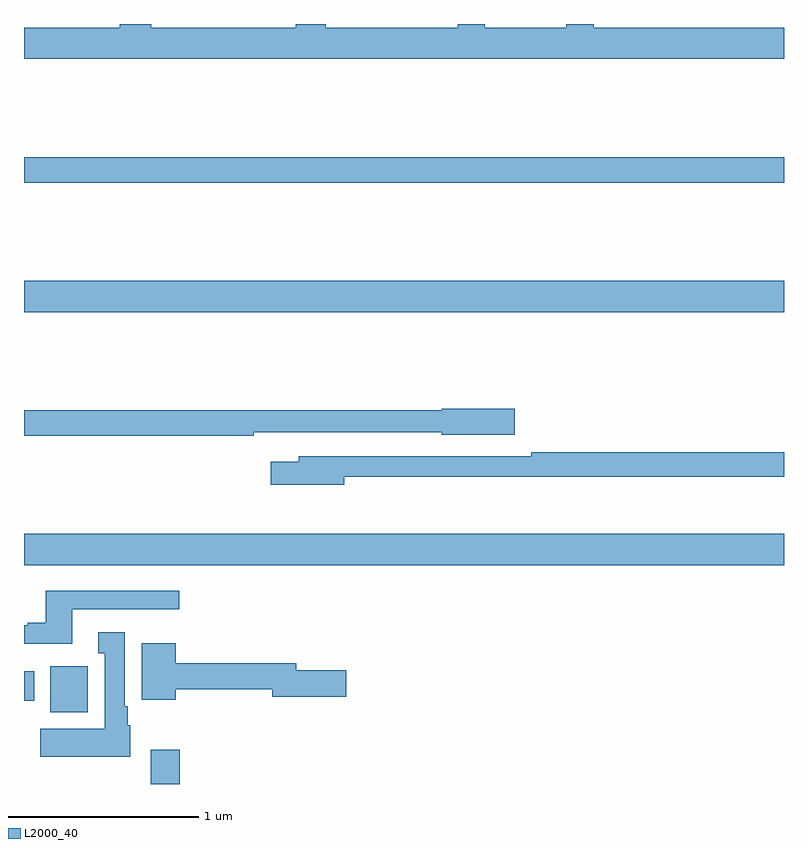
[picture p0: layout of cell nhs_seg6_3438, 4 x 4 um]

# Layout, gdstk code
import gdstk
lib = gdstk.Library(unit=1e-6, precision=1e-09)
def R(c, l, rs):  # rectangles x0, y0, x1, y1
    for r in rs: c.add(gdstk.rectangle(r[:2], r[2:], *l))
def P(c, l, *ps):  # polygons
    for p in ps: c.add(gdstk.Polygon(p, *l))
L2000_40 = (2000, 40)

nhs_seg6_3438 = lib.new_cell('nhs_seg6_3438')
R(nhs_seg6_3438, L2000_40, [(313.667,963.5,313.82,963.679), (313.139,963.878,313.336,964.12), (313,963.937,313.054,964.093), (313,964.652,317,964.816), (313,965.984,317,966.148), (313,966.664,317,966.8)])
P(nhs_seg6_3438, L2000_40, [(317,967.48),(315.998,967.48),(315.998,967.5),(315.854,967.5),(315.854,967.48),(315.424,967.48),(315.424,967.5),(315.284,967.5),(315.284,967.48),(314.589,967.48),(314.589,967.5),(314.429,967.5),(314.429,967.48),(313.67,967.48),(313.67,967.5),(313.505,967.5),(313.505,967.48),(313,967.48),(313,967.316),(317,967.316)],
  [(314.21,965.352),(315.198,965.352),(315.198,965.339),(315.583,965.339),(315.583,965.474),(315.198,965.474),(315.198,965.468),(313,965.468),(313,965.332),(314.21,965.332)],
  [(314.686,965.118),(317,965.118),(317,965.246),(315.67,965.246),(315.67,965.226),(314.447,965.226),(314.447,965.197),(314.298,965.197),(314.298,965.075),(314.686,965.075)],
  [(313.255,964.419),(313.816,964.419),(313.816,964.516),(313.115,964.516),(313.115,964.348),(313.019,964.348),(313.019,964.335),(313,964.335),(313,964.238),(313.255,964.238)],
  [(313.558,963.81),(313.546,963.81),(313.546,963.91),(313.531,963.91),(313.531,964.3),(313.391,964.3),(313.391,964.187),(313.424,964.187),(313.424,963.79),(313.085,963.79),(313.085,963.644),(313.558,963.644)],
  [(313.798,964),(314.306,964),(314.306,963.958),(314.695,963.958),(314.695,964.1),(314.434,964.1),(314.434,964.136),(313.798,964.136),(313.798,964.24),(313.619,964.24),(313.619,963.944),(313.798,963.944)])

lib.write_gds('nhs_seg6_3438.gds')
